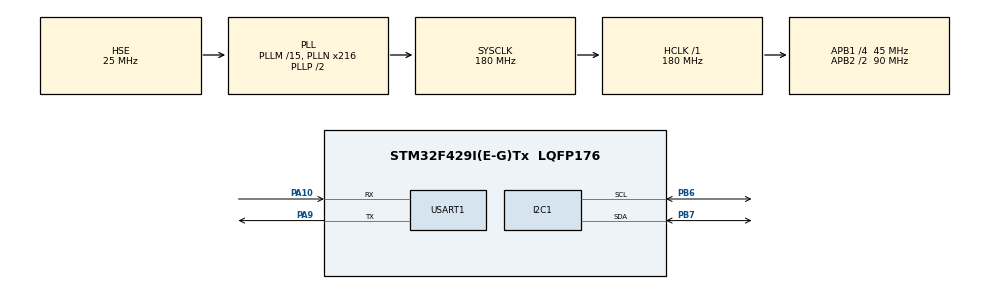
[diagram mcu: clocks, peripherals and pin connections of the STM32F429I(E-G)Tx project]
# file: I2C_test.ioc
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Mcu.Family=STM32F4
Mcu.Name=STM32F429I(E-G)Tx
Mcu.Package=LQFP176
NVIC.PriorityGroup=NVIC_PRIORITYGROUP_4
PA10.Mode=Asynchronous
PA10.Signal=USART1_RX
PA9.Mode=Asynchronous
PA9.Signal=USART1_TX
PB6.Mode=I2C
PB6.Signal=I2C1_SCL
PB7.Mode=I2C
PB7.Signal=I2C1_SDA
PC14/OSC32_IN.Mode=LSE-External-Oscillator
PC14/OSC32_IN.Signal=RCC_OSC32_IN
PC15/OSC32_OUT.Mode=LSE-External-Oscillator
PC15/OSC32_OUT.Signal=RCC_OSC32_OUT
PH0/OSC_IN.Mode=HSE-External-Oscillator
PH0/OSC_IN.Signal=RCC_OSC_IN
PH1/OSC_OUT.Mode=HSE-External-Oscillator
PH1/OSC_OUT.Signal=RCC_OSC_OUT
ProjectManager.HeapSize=0x200
ProjectManager.StackSize=0x400
ProjectManager.TargetToolchain=MDK-ARM V5.32
RCC.48MHZClocksFreq_Value=90000000
RCC.AHBFreq_Value=180000000
RCC.APB1CLKDivider=RCC_HCLK_DIV4
RCC.APB1Freq_Value=45000000
RCC.APB1TimFreq_Value=90000000
RCC.APB2CLKDivider=RCC_HCLK_DIV2
RCC.APB2Freq_Value=90000000
RCC.APB2TimFreq_Value=180000000
RCC.CortexFreq_Value=180000000
RCC.HCLKFreq_Value=180000000
RCC.HSE_VALUE=25000000
RCC.HSI_VALUE=16000000
RCC.PLLM=15
RCC.PLLN=216
RCC.PLLSourceVirtual=RCC_PLLSOURCE_HSE
RCC.SYSCLKFreq_VALUE=180000000
RCC.SYSCLKSource=RCC_SYSCLKSOURCE_PLLCLK
RCC.VCOOutputFreq_Value=360000000
USART1.VirtualMode=VM_ASYNC
board=custom

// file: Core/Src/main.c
/* USER CODE BEGIN Header */
/**
  ******************************************************************************
  * @file           : main.c
  * @brief          : Main program body
  ******************************************************************************
  * @attention
  *
  * Copyright (c) 2026 STMicroelectronics.
  * All rights reserved.
  *
  * This software is licensed under terms that can be found in the LICENSE file
  * in the root directory of this software component.
  * If no LICENSE file comes with this software, it is provided AS-IS.
  *
  ******************************************************************************
  */
/* USER CODE END Header */
#include "main.h"

/* USER CODE BEGIN Includes */
#include "eeprom.h"
#include "oled.h"
#include "app.h"
#include "key.h"
#include <stdio.h>
#include <string.h>
/* USER CODE END Includes */

I2C_HandleTypeDef hi2c1;

UART_HandleTypeDef huart1;

void SystemClock_Config(void);
static void MX_GPIO_Init(void);
static void MX_I2C1_Init(void);
static void MX_USART1_UART_Init(void);

int main(void)
{

  /* MCU Configuration--------------------------------------------------------*/

  /* Reset of all peripherals, Initializes the Flash interface and the Systick. */
  HAL_Init();

  /* Configure the system clock */
  SystemClock_Config();

  /* Initialize all configured peripherals */
  MX_GPIO_Init();
  MX_I2C1_Init();
  MX_USART1_UART_Init();
  /* USER CODE BEGIN 2 */
    /* ① 先扫总线：确认 0x50(AT24C02) / 0x3C(OLED) 在不在，看串口输出 */
    EE_Scan();

    /* ② 回读校验：16 字节跨页写 + 读 + 逐字节比对
     *    EE_WriteBuf 没实现之前这里会打印 write FAILED —— 这是对的 */
    EE_SelfTest();

    /* ③ 点屏 */
    OLED_Init();
    OLED_ShowStr(0, 0, "Booting...", OLED_SIZE_8X16);

    /* ④ 按键引脚（本文件自配，不依赖 CubeMX） */
    Key_Init();

    /* ⑤ 从 EEPROM 读参数；magic 不对就写出厂默认值 */
    APP_Init();
    APP_Display();
  /* USER CODE END 2 */

  /* Infinite loop */
  while (1)
  {

    /* USER CODE BEGIN 3 */
    static uint32_t last_tick = 0;
    static uint32_t last_hb   = 0;

    /* ---------------- 心跳：每秒打印一行 ----------------
     * 为什么需要它：开机那几十毫秒里 EE_Scan / EE_SelfTest 打完就再也不出声了，
     * 串口助手只要晚开一步就什么也看不到。心跳让你随时能确认"线通、程序还活着"。
     * （这就是我在 UART_Test 笔记里写的那个"心跳"调试技巧）*/
    if (HAL_GetTick() - last_hb >= 1000)
    {
        char hb[64];
        last_hb = HAL_GetTick();
        sprintf(hb, "[hb] alive  RUN=%lu\r\n",
                (unsigned long)APP_GetParam()->runCount);
        HAL_UART_Transmit(&huart1, (uint8_t *)hb, (uint16_t)strlen(hb), 100);
    }

    /* 每 10 ms 处理一轮：按键消抖需要固定节拍，刷屏也不必每轮都做 */
    if (HAL_GetTick() - last_tick >= 10)
    {
        last_tick = HAL_GetTick();

        switch (Key_Scan())
        {
        case KEY_UP_EVENT:
            APP_KeyUp();        /* 运行计数 +1 → 写 EEPROM → 重画 */
            /* 按键时立刻打印一次，不用等心跳 —— 方便肉眼确认 */
            HAL_UART_Transmit(&huart1, (uint8_t *)"KEY_UP pressed\r\n",
                              (uint16_t)(sizeof("KEY_UP pressed\r\n") - 1), 100);
            break;

        case KEY_DOWN_EVENT:
            APP_KeyDown();      /* 恢复出厂 → 写 EEPROM → 重画 */
            HAL_UART_Transmit(&huart1, (uint8_t *)"KEY_DOWN pressed\r\n",
                              (uint16_t)(sizeof("KEY_DOWN pressed\r\n") - 1), 100);
            break;

        default:
            break;
        }

        APP_Task();             /* 只在参数变化时重画 */
    }
  }
  /* USER CODE END 3 */
}

void SystemClock_Config(void)
{
  RCC_OscInitTypeDef RCC_OscInitStruct = {0};
  RCC_ClkInitTypeDef RCC_ClkInitStruct = {0};

  /** Configure the main internal regulator output voltage
  */
  __HAL_RCC_PWR_CLK_ENABLE();
  __HAL_PWR_VOLTAGESCALING_CONFIG(PWR_REGULATOR_VOLTAGE_SCALE1);

  /** Initializes the RCC Oscillators according to the specified parameters
  * in the RCC_OscInitTypeDef structure.
  */
  RCC_OscInitStruct.OscillatorType = RCC_OSCILLATORTYPE_HSE;
  RCC_OscInitStruct.HSEState = RCC_HSE_ON;
  RCC_OscInitStruct.PLL.PLLState = RCC_PLL_ON;
  RCC_OscInitStruct.PLL.PLLSource = RCC_PLLSOURCE_HSE;
  RCC_OscInitStruct.PLL.PLLM = 15;
  RCC_OscInitStruct.PLL.PLLN = 216;
  RCC_OscInitStruct.PLL.PLLP = RCC_PLLP_DIV2;
  RCC_OscInitStruct.PLL.PLLQ = 4;
  if (HAL_RCC_OscConfig(&RCC_OscInitStruct) != HAL_OK)
  {
    Error_Handler();
  }

  /** Activate the Over-Drive mode
  */
  if (HAL_PWREx_EnableOverDrive() != HAL_OK)
  {
    Error_Handler();
  }

  /** Initializes the CPU, AHB and APB buses clocks
  */
  RCC_ClkInitStruct.ClockType = RCC_CLOCKTYPE_HCLK|RCC_CLOCKTYPE_SYSCLK
                              |RCC_CLOCKTYPE_PCLK1|RCC_CLOCKTYPE_PCLK2;
  RCC_ClkInitStruct.SYSCLKSource = RCC_SYSCLKSOURCE_PLLCLK;
  RCC_ClkInitStruct.AHBCLKDivider = RCC_SYSCLK_DIV1;
  RCC_ClkInitStruct.APB1CLKDivider = RCC_HCLK_DIV4;
  RCC_ClkInitStruct.APB2CLKDivider = RCC_HCLK_DIV2;

  if (HAL_RCC_ClockConfig(&RCC_ClkInitStruct, FLASH_LATENCY_5) != HAL_OK)
  {
    Error_Handler();
  }
}

static void MX_I2C1_Init(void)
{

  hi2c1.Instance = I2C1;
  hi2c1.Init.ClockSpeed = 100000;
  hi2c1.Init.DutyCycle = I2C_DUTYCYCLE_2;
  hi2c1.Init.OwnAddress1 = 0;
  hi2c1.Init.AddressingMode = I2C_ADDRESSINGMODE_7BIT;
  hi2c1.Init.DualAddressMode = I2C_DUALADDRESS_DISABLE;
  hi2c1.Init.OwnAddress2 = 0;
  hi2c1.Init.GeneralCallMode = I2C_GENERALCALL_DISABLE;
  hi2c1.Init.NoStretchMode = I2C_NOSTRETCH_DISABLE;
  if (HAL_I2C_Init(&hi2c1) != HAL_OK)
  {
    Error_Handler();
  }

  /** Configure Analogue filter
  */
  if (HAL_I2CEx_ConfigAnalogFilter(&hi2c1, I2C_ANALOGFILTER_ENABLE) != HAL_OK)
  {
    Error_Handler();
  }

  /** Configure Digital filter
  */
  if (HAL_I2CEx_ConfigDigitalFilter(&hi2c1, 0) != HAL_OK)
  {
    Error_Handler();
  }

}

static void MX_USART1_UART_Init(void)
{

  huart1.Instance = USART1;
  huart1.Init.BaudRate = 115200;
  huart1.Init.WordLength = UART_WORDLENGTH_8B;
  huart1.Init.StopBits = UART_STOPBITS_1;
  huart1.Init.Parity = UART_PARITY_NONE;
  huart1.Init.Mode = UART_MODE_TX_RX;
  huart1.Init.HwFlowCtl = UART_HWCONTROL_NONE;
  huart1.Init.OverSampling = UART_OVERSAMPLING_16;
  if (HAL_UART_Init(&huart1) != HAL_OK)
  {
    Error_Handler();
  }

}

static void MX_GPIO_Init(void)
{

  /* GPIO Ports Clock Enable */
  __HAL_RCC_GPIOC_CLK_ENABLE();
  __HAL_RCC_GPIOH_CLK_ENABLE();
  __HAL_RCC_GPIOA_CLK_ENABLE();
  __HAL_RCC_GPIOB_CLK_ENABLE();

}

void Error_Handler(void)
{
  __disable_irq();
  while (1)
  {
  }
}
